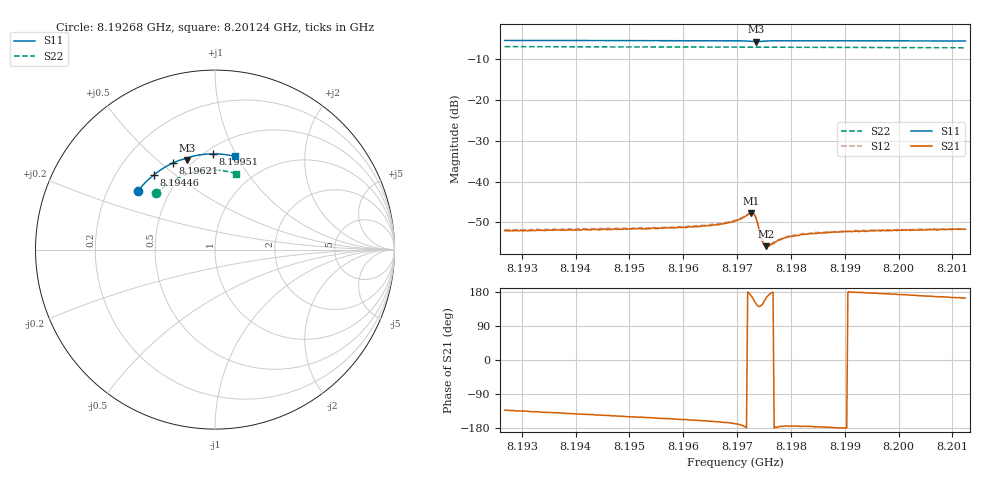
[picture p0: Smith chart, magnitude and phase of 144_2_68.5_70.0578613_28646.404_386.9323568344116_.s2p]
#  HZ  S  RI  R  50.00
! Rohde & Schwarz Vector Network Analyzer
! Rohde-Schwarz,ZNB20-2Port,1311601062101988,3.16
! Created: UTC 3/20/2024, 5:10:09 PM
! freq[Hz]  re:S11  im:S11  re:S21  im:S21  re:S12  im:S12  re:S22  im:S22
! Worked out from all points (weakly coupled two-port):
!   401 points, 8.19268 GHz to 8.20124 GHz, reference 50 ohm
!   highest |S21| = -47.76 dB at 8.19726 GHz (marker M1); lowest = -55.8 dB at 8.19754 GHz (marker M2)
!   lowest |S11| = -5.7 dB at 8.19735 GHz (marker M3), VSWR 3.17, Z = 23 + j31.4 ohm
!   |S11| at or under -10 dB: nowhere
!   |S22| runs from -7.2 to -6.9 dB; largest |S21 - S12| = 0.00023
!   S11 on the Smith chart (normalised r, x): 8.19268 GHz: 0.33, +0.31; 8.19446 GHz: 0.36, +0.42; 8.19621 GHz: 0.41, +0.55; 8.19951 GHz: 0.55, +0.82; 8.20124 GHz: 0.68, +0.98
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8.19268e9  -0.4273 0.3292  -0.00169 -0.00185  -0.00178 -0.00185  -0.3276 0.3131
8.194114e9  -0.3578 0.4024  -0.00204 -0.00156  -0.00213 -0.00154  -0.2662 0.3642
8.194456e9  -0.3393 0.418  -0.00213 -0.00147  -0.00224 -0.00143  -0.2503 0.3747
8.195548e9  -0.2756 0.4613  -0.00243 -0.00118  -0.00254 -0.00111  -0.1964 0.4037
8.196211e9  -0.2337 0.4831  -0.00259 -0.00102  -0.00272 -0.000939  -0.1618 0.4176
8.196639e9  -0.205 0.4952  -0.00283 -0.000883  -0.00295 -0.000765  -0.1389 0.425
8.19696e9  -0.1818 0.5028  -0.00323 -0.000685  -0.00331 -0.000566  -0.1213 0.4299
8.19726e9  -0.1569 0.5017  -0.00403 0.000732  -0.00407 0.000904  -0.1047 0.4335
8.197303e9  -0.1553 0.4987  -0.00381 0.00136  -0.00382 0.00155  -0.1025 0.4338
8.197346e9  -0.1564 0.4966  -0.00314 0.00184  -0.00313 0.00199  -0.1003 0.4342
8.197367e9  -0.1575 0.4965  -0.00269 0.00189  -0.00267 0.00202  -0.0993 0.4344
8.197474e9  -0.1577 0.5045  -0.00153 0.000967  -0.00154 0.00103  -0.0934 0.4358
8.197495e9  -0.1563 0.506  -0.00151 0.000755  -0.00151 0.000836  -0.0922 0.436
8.197538e9  -0.1534 0.5086  -0.00155 0.00046  -0.00156 0.00054  -0.0898 0.4364
8.197602e9  -0.1486 0.5117  -0.00163 0.000189  -0.00165 0.000236  -0.0862 0.4371
8.197731e9  -0.1387 0.5159  -0.00184 -9.4e-05  -0.00189 -2.22e-05  -0.079 0.4383
8.197902e9  -0.126 0.5197  -0.00203 -0.000204  -0.00207 -0.000107  -0.0694 0.4398
8.198223e9  -0.1027 0.5249  -0.00226 -0.000191  -0.00231 -0.000118  -0.0512 0.4416
8.198394e9  -0.0905 0.527  -0.00231 -0.000189  -0.00235 -9.06e-05  -0.0416 0.4422
8.199507e9  -0.0115 0.5335  -0.00248 0.000155  -0.00253 0.000295  0.0218 0.4416
8.199828e9  0.0113 0.5332  -0.00248 0.000257  -0.00255 0.000393  0.0399 0.4398
8.201241e9  0.1102 0.52  -0.0025 0.00075  -0.0025 0.000857  0.1184 0.4225
